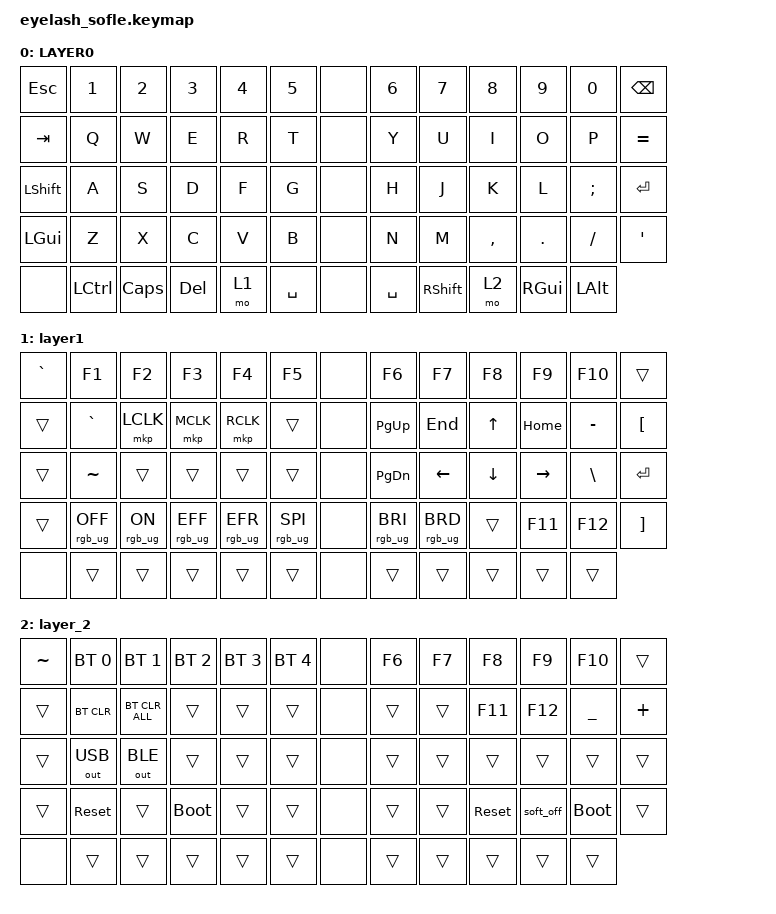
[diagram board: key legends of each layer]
#define ZMK_POINTING_DEFAULT_MOVE_VAL 1200  // 600
#define ZMK_POINTING_DEFAULT_SCRL_VAL 25   // 10

#include <input/processors.dtsi>
#include <zephyr/dt-bindings/input/input-event-codes.h>
#include <behaviors.dtsi>
#include <dt-bindings/zmk/bt.h>
#include <dt-bindings/zmk/keys.h>
#include <dt-bindings/zmk/outputs.h>
#include <dt-bindings/zmk/pointing.h>
#include <dt-bindings/zmk/rgb.h>

&mmv_input_listener { input-processors = <&zip_xy_scaler 2 1>; };

&msc_input_listener { input-processors = <&zip_scroll_scaler 2 1>; };

/ {
    keymap {
        compatible = "zmk,keymap";

        layer0 {
            bindings = <
&kp ESC       &kp N1     &kp N2    &kp N3   &kp N4  &kp N5       &none  &kp N6     &kp N7      &kp N8     &kp N9    &kp N0    &kp BACKSPACE
&kp TAB       &kp Q      &kp W     &kp E    &kp R   &kp T        &none  &kp Y      &kp U       &kp I      &kp O     &kp P     &kp EQUAL
&kp LSHFT     &kp A      &kp S     &kp D    &kp F   &kp G        &none  &kp H      &kp J       &kp K      &kp L     &kp SEMI  &kp RET
&kp LEFT_GUI  &kp Z      &kp X     &kp C    &kp V   &kp B        &none  &kp N      &kp M       &kp COMMA  &kp DOT   &kp FSLH  &kp APOS
&none         &kp LCTRL  &kp CAPS  &kp DEL  &mo 1   &kp SPACE    &none  &kp SPACE  &kp RSHIFT  &mo 2      &kp RGUI  &kp LALT
            >;

            display-name = "LAYER0";
        };

        layer_1 {
            bindings = <
&kp GRAVE  &kp F1           &kp F2          &kp F3           &kp F4           &kp F5             &none  &kp F6           &kp F7           &kp F8    &kp F9     &kp F10    &trans
&trans     &kp GRAVE        &mkp LCLK       &mkp MCLK        &mkp RCLK        &trans             &none  &kp PG_UP        &kp END          &kp UP    &kp HOME   &kp MINUS  &kp LBKT
&trans     &kp TILDE        &trans          &trans           &trans           &trans             &none  &kp PG_DN        &kp LEFT         &kp DOWN  &kp RIGHT  &kp BSLH   &kp RET
&trans     &rgb_ug RGB_OFF  &rgb_ug RGB_ON  &rgb_ug RGB_EFF  &rgb_ug RGB_EFR  &rgb_ug RGB_SPI    &none  &rgb_ug RGB_BRI  &rgb_ug RGB_BRD  &trans    &kp F11    &kp F12    &kp RBKT
&none      &trans           &trans          &trans           &trans           &trans             &none  &trans           &trans           &trans    &trans     &trans
            >;

            display-name = "layer1";
        };

        layer_2 {
            bindings = <
&kp TILDE  &bt BT_SEL 0  &bt BT_SEL 1    &bt BT_SEL 2  &bt BT_SEL 3  &bt BT_SEL 4    &none  &kp F6  &kp F7  &kp F8      &kp F9     &kp F10      &trans
&trans     &bt BT_CLR    &bt BT_CLR_ALL  &trans        &trans        &trans          &none  &trans  &trans  &kp F11     &kp F12    &kp UNDER    &kp PLUS
&trans     &out OUT_USB  &out OUT_BLE    &trans        &trans        &trans          &none  &trans  &trans  &trans      &trans     &trans       &trans
&trans     &sys_reset    &trans          &bootloader   &trans        &trans          &none  &trans  &trans  &sys_reset  &soft_off  &bootloader  &trans
&none      &trans        &trans          &trans        &trans        &trans          &none  &trans  &trans  &trans      &trans     &trans
            >;
        };
    };
};
